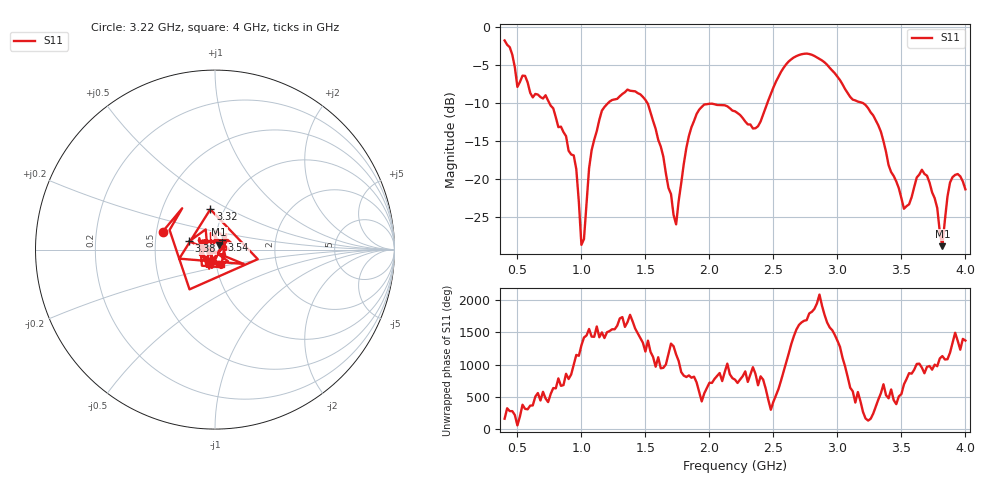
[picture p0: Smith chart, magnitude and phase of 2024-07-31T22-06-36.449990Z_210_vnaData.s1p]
!Created with skrf (http://scikit-rf.org).
# Hz S RI R 50.0
!freq ReS11 ImS11
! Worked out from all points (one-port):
!   181 points, 400 MHz to 4 GHz, reference 50 ohm
!   lowest |S11| = -28.8 dB at 3.82 GHz (marker M1), VSWR 1.08, Z = 52.2 + j2.96 ohm
!   |S11| at or under -10 dB: 750.7 MHz to 1.207 GHz (455.9 MHz wide, 46.6 % of centre); 1.517 GHz to 2.452 GHz (935.5 MHz wide, 47.1 % of centre); 3.203 GHz to end of sweep
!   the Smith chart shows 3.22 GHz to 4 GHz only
!   S11 on the Smith chart (normalised r, x): 3.22 GHz: 0.54, +0.12; 3.32 GHz: 0.86, +0.41; 3.38 GHz: 0.75, +0.07; 3.54 GHz: 1.08, +0.12; 4 GHz: 1.05, -0.17
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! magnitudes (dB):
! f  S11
! 400 MHz  -1.7
! 500 MHz  -7.8
! 720 MHz  -8.9
! 860 MHz  -13.8
! 960 MHz  -18.7
! 1 GHz  -28.6
! 1.02 GHz  -27.9
! 1.08 GHz  -16.2
! 1.14 GHz  -12.2
! 1.3 GHz  -9.1
! 1.52 GHz  -10.1
! 1.74 GHz  -25.9
! 1.76 GHz  -22.8
! 1.84 GHz  -14.3
! 1.92 GHz  -10.8
! 2.2 GHz  -11.0
! 2.38 GHz  -13.0
! 2.66 GHz  -4.0
! 3.1 GHz  -9.2
! 3.22 GHz  -10.2
! 3.32 GHz  -12.9
! 3.38 GHz  -16.4
! 3.54 GHz  -23.5
! 3.56 GHz  -23.3
! 3.7 GHz  -19.5
! 3.82 GHz  -28.8
! 3.88 GHz  -20.4
! 4 GHz  -21.3
